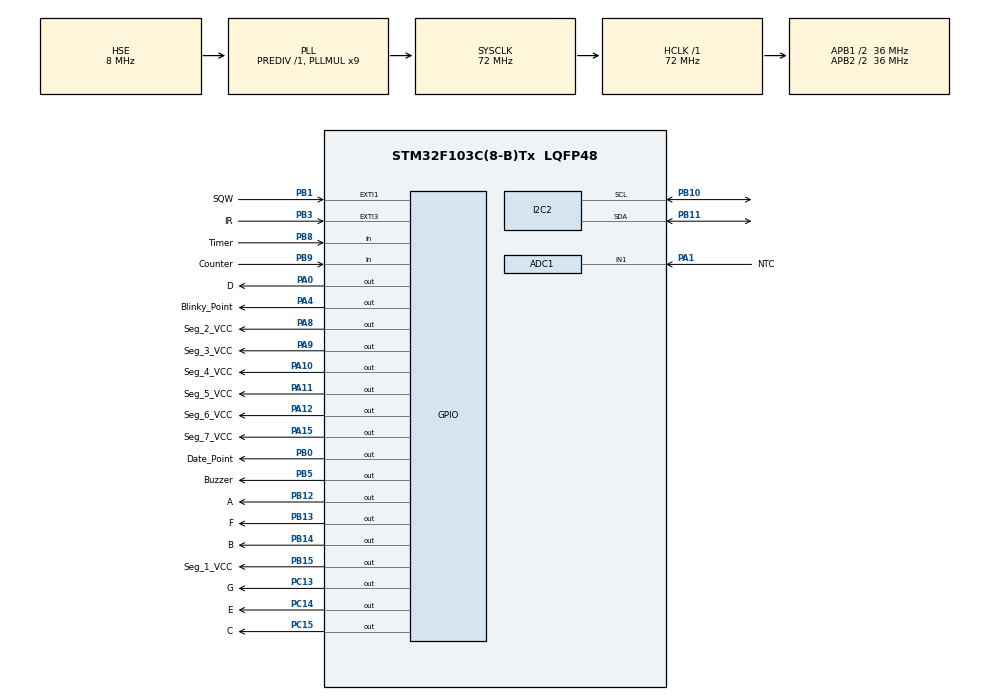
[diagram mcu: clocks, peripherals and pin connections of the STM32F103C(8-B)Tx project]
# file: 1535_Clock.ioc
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ADC1.Channel-0\#ChannelRegularConversion=ADC_CHANNEL_1
ADC1.NbrOfConversionFlag=1
ADC1.Rank-0\#ChannelRegularConversion=1
ADC1.SamplingTime-0\#ChannelRegularConversion=ADC_SAMPLETIME_1CYCLE_5
ADC1.master=1
Mcu.Family=STM32F1
Mcu.Name=STM32F103C(8-B)Tx
Mcu.Package=LQFP48
NVIC.EXTI1_IRQn=true\:0\:0\:false\:false\:true\:true\:true\:true
NVIC.EXTI3_IRQn=true\:0\:0\:false\:false\:true\:true\:true\:true
NVIC.PriorityGroup=NVIC_PRIORITYGROUP_4
NVIC.TIM2_IRQn=true\:0\:0\:false\:false\:true\:true\:true\:true
NVIC.TIM3_IRQn=true\:0\:0\:false\:false\:true\:true\:true\:true
PA0-WKUP.GPIO_Label=D
PA0-WKUP.GPIO_Speed=GPIO_SPEED_FREQ_HIGH
PA0-WKUP.Signal=GPIO_Output
PA1.GPIO_Label=NTC
PA1.Signal=SharedAnalog_PA1
PA10.GPIO_Label=Seg_4_VCC
PA10.GPIO_Speed=GPIO_SPEED_FREQ_HIGH
PA10.Signal=GPIO_Output
PA11.GPIO_Label=Seg_5_VCC
PA11.GPIO_Speed=GPIO_SPEED_FREQ_HIGH
PA11.Signal=GPIO_Output
PA12.GPIO_Label=Seg_6_VCC
PA12.GPIO_Speed=GPIO_SPEED_FREQ_HIGH
PA12.Signal=GPIO_Output
PA13.Mode=Serial_Wire
PA13.Signal=SYS_JTMS-SWDIO
PA14.Mode=Serial_Wire
PA14.Signal=SYS_JTCK-SWCLK
PA15.GPIO_Label=Seg_7_VCC
PA15.GPIO_Speed=GPIO_SPEED_FREQ_HIGH
PA15.Signal=GPIO_Output
PA4.GPIO_Label=Blinky_Point
PA4.Signal=GPIO_Output
PA8.GPIO_Label=Seg_2_VCC
PA8.GPIO_Speed=GPIO_SPEED_FREQ_HIGH
PA8.Signal=GPIO_Output
PA9.GPIO_Label=Seg_3_VCC
PA9.GPIO_Speed=GPIO_SPEED_FREQ_HIGH
PA9.Signal=GPIO_Output
PB0.GPIO_Label=Date_Point
PB0.Signal=GPIO_Output
PB1.GPIO_Label=SQW
PB1.Signal=GPXTI1
PB10.Mode=I2C
PB10.Signal=I2C2_SCL
PB11.Mode=I2C
PB11.Signal=I2C2_SDA
PB12.GPIO_Label=A
PB12.GPIO_Speed=GPIO_SPEED_FREQ_HIGH
PB12.Signal=GPIO_Output
PB13.GPIO_Label=F
PB13.GPIO_Speed=GPIO_SPEED_FREQ_HIGH
PB13.Signal=GPIO_Output
PB14.GPIO_Label=B
PB14.GPIO_Speed=GPIO_SPEED_FREQ_HIGH
PB14.Signal=GPIO_Output
PB15.GPIO_Label=Seg_1_VCC
PB15.GPIO_Speed=GPIO_SPEED_FREQ_HIGH
PB15.Signal=GPIO_Output
PB3.GPIO_Label=IR
PB3.GPIO_ModeDefaultEXTI=GPIO_MODE_IT_FALLING
PB3.Signal=GPXTI3
PB5.GPIO_Label=Buzzer
PB5.Signal=GPIO_Output
PB8.GPIO_Label=Timer
PB8.Signal=GPIO_Input
PB9.GPIO_Label=Counter
PB9.Signal=GPIO_Input
PC13-TAMPER-RTC.GPIO_Label=G
PC13-TAMPER-RTC.GPIO_Speed=GPIO_SPEED_FREQ_HIGH
PC13-TAMPER-RTC.Signal=GPIO_Output
PC14-OSC32_IN.GPIO_Label=E
PC14-OSC32_IN.GPIO_Speed=GPIO_SPEED_FREQ_HIGH
PC14-OSC32_IN.Signal=GPIO_Output
PC15-OSC32_OUT.GPIO_Label=C
PC15-OSC32_OUT.GPIO_Speed=GPIO_SPEED_FREQ_HIGH
PC15-OSC32_OUT.Signal=GPIO_Output
PD0-OSC_IN.Mode=HSE-External-Oscillator
PD0-OSC_IN.Signal=RCC_OSC_IN
PD1-OSC_OUT.Mode=HSE-External-Oscillator
PD1-OSC_OUT.Signal=RCC_OSC_OUT
ProjectManager.HeapSize=0x200
ProjectManager.StackSize=0x400
ProjectManager.TargetToolchain=STM32CubeIDE
RCC.ADCPresc=RCC_ADCPCLK2_DIV4
RCC.AHBFreq_Value=72000000
RCC.APB1CLKDivider=RCC_HCLK_DIV2
RCC.APB1Freq_Value=36000000
RCC.APB1TimFreq_Value=72000000
RCC.APB2CLKDivider=RCC_HCLK_DIV2
RCC.APB2Freq_Value=36000000
RCC.APB2TimFreq_Value=72000000
RCC.HCLKFreq_Value=72000000
RCC.PLLMUL=RCC_PLL_MUL9
RCC.PLLSourceVirtual=RCC_PLLSOURCE_HSE
RCC.SYSCLKFreq_VALUE=72000000
RCC.SYSCLKSource=RCC_SYSCLKSOURCE_PLLCLK
RCC.USBFreq_Value=72000000
SH.SharedAnalog_PA1.0=GPIO_Analog
SH.SharedAnalog_PA1.1=ADC1_IN1,IN1
TIM2.CounterMode=TIM_COUNTERMODE_CENTERALIGNED3
TIM2.Period=499
TIM2.Prescaler=72-1
TIM3.Period=50000
TIM3.Prescaler=72-1
VP_TIM2_VS_ClockSourceINT.Mode=Internal
VP_TIM3_VS_ClockSourceINT.Mode=Internal
board=custom

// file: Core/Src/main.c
/* USER CODE BEGIN Header */
/**
 ******************************************************************************
 * @file           : main.c
 * @brief          : Main program body
 ******************************************************************************
 * @attention
 *
 * Copyright (c) 2025 STMicroelectronics.
 * All rights reserved.
 *
 * This software is licensed under terms that can be found in the LICENSE file
 * in the root directory of this software component.
 * If no LICENSE file comes with this software, it is provided AS-IS.
 *
 ******************************************************************************
 */
/* USER CODE END Header */
#include "main.h"
#include "adc.h"
#include "i2c.h"
#include "tim.h"
#include "gpio.h"

/* USER CODE BEGIN Includes */
#include "DS3231.h"
#include "GeneralRemoote.h"
#include "Initialization.h"
#include "NTC.h"

/* USER CODE END Includes */

void SystemClock_Config(void);

int main(void)
{

  /* MCU Configuration--------------------------------------------------------*/

  /* Reset of all peripherals, Initializes the Flash interface and the Systick. */
  HAL_Init();

  /* Configure the system clock */
  SystemClock_Config();

  /* Initialize all configured peripherals */
  MX_GPIO_Init();
  MX_I2C2_Init();
  MX_TIM2_Init();
  MX_TIM3_Init();
  MX_ADC1_Init();
  /* USER CODE BEGIN 2 */
  HAL_TIM_Base_Start_IT(&htim2);
  HAL_TIM_Base_Start_IT(&htim3);

  for (int i = 0; i < 10; i++)
  {
    Segment_Set(0, i);
    Segment_Set(1, i);
    Segment_Set(2, i);
    Segment_Set(3, i);
    Segment_Set(4, i);
    Segment_Set(5, i);
    Segment_Set(6, 'N');
    HAL_Delay(200);
    HAL_GPIO_WritePin(blinky_Point, HIGH);
    HAL_GPIO_WritePin(date_Point, LOW);
    Buzz(100); HAL_Delay(200); Buzz(100);
  }

  if (HAL_I2C_IsDeviceReady(&hi2c2, 0xD0, 3, 100) == HAL_OK)
  {
    DS3231_ReadTime(&hi2c2, &time_Hour, &time_Minute, &time_Second);
    DS3231_EnableSQW1Hz(&hi2c2);
  }
  else
  {
    time_Hour = 0;
    time_Minute = 0;
    time_Second = 0;

    for (int i = 0; i < 3; i++)
    {
      Buzz(300);
      HAL_Delay(100);
    }
  }

  #ifdef EDAR
    for(int i = 0; i< 8; i++)
    {
      dateOfWeek = GET_DOW(i);
      Segment_Set(6,dateOfWeek);
      HAL_Delay(200);
    }
    dateOfWeek = GET_DOW(date_Week);
    Date_Update();
  #endif
  Buzz(20);
  HAL_Delay(100);
  Buzz(20);

  /* USER CODE BEGIN 2 */

  /* USER CODE END 2 */

  /* Infinite loop */
  while (1)
  {

    /* USER CODE BEGIN 3 */
#ifdef SIMPLE
    if (work_Mode == MODE_NORMAL)
    {

      HAL_GPIO_WritePin(date_Point, LOW);
      if (tmpShow)
      {
        if (time_TmpShow < 2)
        {
          if (tempreture_read == 0)
          {
            temperature = NTC_Read();
            tempreture_read = 1;
          }
          if (tempreture_read == 1)
          {
            Segment_Set(0, temperature / 10);
            Segment_Set(1, temperature % 10);
            Segment_Set(2, 'o');
            Segment_Set(3, 'C');
            Segment_Set(4, 'N');
            Segment_Set(5, 'N');
            HAL_GPIO_WritePin(blinky_Point, LOW);
          }
        }
        else
        {
          tempreture_read = 0;
        }
      }
      if (!tempreture_read)
      {
        if (PM_Mode)
        {
          if (time_Hour > 12)
          {
            Segment_Set(0, (time_Hour - 12) / 10);
            Segment_Set(1, (time_Hour - 12) % 10);
          }
          else
          {
            Segment_Set(0, time_Hour / 10);
            Segment_Set(1, time_Hour % 10);
          }
        }
        else
        {
          Segment_Set(0, time_Hour / 10);
          Segment_Set(1, time_Hour % 10);
        }
        Segment_Set(2, time_Minute / 10);
        Segment_Set(3, time_Minute % 10);
        Segment_Set(4, time_Second / 10);
        Segment_Set(5, time_Second % 10);
        HAL_GPIO_WritePin(blinky_Point, HIGH);
      }
      Segment_Set(6, 'N');

      irRemote = Ir_GetData();
      if (irRemote != 0)
      {
        Haamin_Remote(irRemote, work_Mode);
      }
    }
    else if (work_Mode == MODE_OFF)
    {
      Segment_Set(0, 'N');
      Segment_Set(1, 'N');
      Segment_Set(2, 'N');
      Segment_Set(3, 'N');
      Segment_Set(4, 'N');
      Segment_Set(5, 'N');
      Segment_Set(6, 'N');

      irRemote = Ir_GetData();
      if (irRemote != 0)
      {
        Haamin_Remote(irRemote, work_Mode);
      }
    }
    else if (work_Mode == TIME_SETTING)
    {
      if (time_Mode == SET_HOUR)
      {

        Segment_Set(2, time_Minute_t / 10);
        Segment_Set(3, time_Minute_t % 10);

        if (time_SecBit)
        {
          Segment_Set(0, timeValue / 10);
          Segment_Set(1, timeValue % 10);
        }
        else
        {
          Segment_Set(0, 'N');
          Segment_Set(1, 'N');
        }
      }
      else if (time_Mode == SET_MIN)
      {
        Segment_Set(0, time_Hour_t / 10);
        Segment_Set(1, time_Hour_t % 10);

        if (time_SecBit)
        {
          Segment_Set(2, timeValue / 10);
          Segment_Set(3, timeValue % 10);
        }
        else
        {
          Segment_Set(2, 'N');
          Segment_Set(3, 'N');
        }
      }

      irRemote = Ir_GetData();
      if (irRemote != 0)
      {
        Haamin_Remote(irRemote, work_Mode);
      }
    }

#elif EDARI
    if (work_Mode == MODE_NORMAL)
    {
      Segment_Set(6, dateOfWeek);
      if ((time_DateShow > 10) && (time_DateShow < 14))
      {
        date_Read = 1;
        // Date_Update();
        Segment_Set(0, jdate_Year / 10);
        Segment_Set(1, jdate_Year % 10);
        Segment_Set(2, jdate_Mounth / 10);
        Segment_Set(3, jdate_Mounth % 10);
        Segment_Set(4, jdate_Day / 10);
        Segment_Set(5, jdate_Day % 10);
        HAL_GPIO_WritePin(blinky_Point, LOW);
        HAL_GPIO_WritePin(date_Point, HIGH);
      }
      else
      {
        date_Read = 0;
      }

      if (tmpShow)
      {
        if (time_TmpShow < 2)
        {
          if (tempreture_read == 0)
          {
            temperature = NTC_Read();
            tempreture_read = 1;
          }

          Segment_Set(0, temperature / 10);
          Segment_Set(1, temperature % 10);
          Segment_Set(2, 'o');
          Segment_Set(3, 'C');
          Segment_Set(4, 'N');
          Segment_Set(5, 'N');
          HAL_GPIO_WritePin(blinky_Point, LOW);
          HAL_GPIO_WritePin(date_Point, LOW);
        }
        else
        {
          tempreture_read = 0;
        }
      }

      if (!tempreture_read && !date_Read)
      {
        if (PM_Mode)
        {
          if (time_Hour > 12)
          {
            Segment_Set(0, (time_Hour - 12) / 10);
            Segment_Set(1, (time_Hour - 12) % 10);
          }
          else
          {
            Segment_Set(0, time_Hour / 10);
            Segment_Set(1, time_Hour % 10);
          }
        }
        else
        {
          Segment_Set(0, time_Hour / 10);
          Segment_Set(1, time_Hour % 10);
        }

        Segment_Set(2, time_Minute / 10);
        Segment_Set(3, time_Minute % 10);
        Segment_Set(4, time_Second / 10);
        Segment_Set(5, time_Second % 10);
        HAL_GPIO_WritePin(date_Point, LOW);
        HAL_GPIO_WritePin(blinky_Point, HIGH);
      }
      irRemote = Ir_GetData();
      if (irRemote != 0)
      {
        Haamin_Remote(irRemote, work_Mode);
      }
    }
    else if (work_Mode == MODE_OFF)
    {
      Segment_Set(0, 'N');
      Segment_Set(1, 'N');
      Segment_Set(2, 'N');
      Segment_Set(3, 'N');
      Segment_Set(4, 'N');
      Segment_Set(5, 'N');
      Segment_Set(6, 'N');
      HAL_GPIO_WritePin(blinky_Point, LOW);
      HAL_GPIO_WritePin(date_Point, LOW);
      irRemote = Ir_GetData();
      if (irRemote != 0)
      {
        Haamin_Remote(irRemote, work_Mode);
      }
    }
    else if (work_Mode == TIME_SETTING)
    {
      HAL_GPIO_WritePin(blinky_Point, HIGH);
      HAL_GPIO_WritePin(date_Point, LOW);

      if (time_Mode == SET_HOUR)
      {
        Segment_Set(2, time_Minute_t / 10);
        Segment_Set(3, time_Minute_t % 10);

        if (time_SecBit)
        {
          Segment_Set(0, timeValue / 10);
          Segment_Set(1, timeValue % 10);
        }
        else
        {
          Segment_Set(0, 'N');
          Segment_Set(1, 'N');
        }
      }
      else if (time_Mode == SET_MIN)
      {
        Segment_Set(0, time_Hour_t / 10);
        Segment_Set(1, time_Hour_t % 10);

        if (time_SecBit)
        {
          Segment_Set(2, timeValue / 10);
          Segment_Set(3, timeValue % 10);
        }
        else
        {
          Segment_Set(2, 'N');
          Segment_Set(3, 'N');
        }
      }

      irRemote = Ir_GetData();
      if (irRemote != 0)
      {
        Haamin_Remote(irRemote, work_Mode);
      }
    }
    else if (work_Mode == DATE_SETTING)
    {
      HAL_GPIO_WritePin(blinky_Point, LOW);

      if (date_Mode == SET_YEAR)
      {
        HAL_GPIO_WritePin(date_Point, HIGH);
        Segment_Set(2, dateMounth_t / 10);
        Segment_Set(3, dateMounth_t % 10);
        Segment_Set(4, dateDay_t / 10);
        Segment_Set(5, dateDay_t % 10);
        if (time_SecBit)
        {
          Segment_Set(0, dateValue / 10);
          Segment_Set(1, dateValue % 10);
        }
        else
        {
          Segment_Set(0, 'N');
          Segment_Set(1, 'N');
        }
      }
      else if (date_Mode == SET_MOTH)
      {
        HAL_GPIO_WritePin(date_Point, HIGH);
        Segment_Set(0, dateYear_t / 10);
        Segment_Set(1, dateYear_t % 10);

        Segment_Set(4, dateDay_t / 10);
        Segment_Set(5, dateDay_t % 10);
        if (time_SecBit)
        {
          Segment_Set(2, dateValue / 10);
          Segment_Set(3, dateValue % 10);
        }
        else
        {
          Segment_Set(2, 'N');
          Segment_Set(3, 'N');
        }
      }
      else if (date_Mode == SET_DAY)
      {
        HAL_GPIO_WritePin(date_Point, HIGH);
        Segment_Set(0, dateYear_t / 10);
        Segment_Set(1, dateYear_t % 10);
        Segment_Set(2, dateMounth_t / 10);
        Segment_Set(3, dateMounth_t % 10);
        if (time_SecBit)
        {
          Segment_Set(4, dateValue / 10);
          Segment_Set(5, dateValue % 10);
        }
        else
        {
          Segment_Set(4, 'N');
          Segment_Set(5, 'N');
        }
      }
      else if (date_Mode == SET_DOW)
      {
        HAL_GPIO_WritePin(date_Point, LOW);
        Segment_Set(0, 'N');
        Segment_Set(1, 'N');
        Segment_Set(2, 'N');
        Segment_Set(3, 'N');
        if (time_SecBit)
        {
          Segment_Set(4, dateValue / 10);
          Segment_Set(5, dateValue % 10);
        }
        else
        {
          Segment_Set(4, 'N');
          Segment_Set(5, 'N');
        }
      }

      irRemote = Ir_GetData();
      if (irRemote != 0)
      {
        Haamin_Remote(irRemote, work_Mode);
      }
    }

#elif BASHGHAHI

    if (work_Mode == MODE_NORMAL)
    {
      if (time_TmpShow < 2)
      {
        if (tmpShow)
        {
          if (temp_Read)
          {
            temperature = NTC_Read();
            temp_Read = 0;
          }
          HAL_GPIO_WritePin(blinky_Point, LOW);
          Segment_Set(0, temperature / 10);
          Segment_Set(1, temperature % 10);
          Segment_Set(2, 'o');
          Segment_Set(3, 'C');
          Segment_Set(4, 'N');
          Segment_Set(5, 'N');
        }
      }
      else
      {
        temp_Read = 1;
        HAL_GPIO_WritePin(blinky_Point, HIGH);
        if (PM_Mode)
        {
          if (time_Hour > 12)
          {
            Segment_Set(0, (time_Hour - 12) / 10);
            Segment_Set(1, (time_Hour - 12) % 10);
          }
          else
          {
            Segment_Set(0, time_Hour / 10);
            Segment_Set(1, time_Hour % 10);
          }
        }
        else
        {
          Segment_Set(0, time_Hour / 10);
          Segment_Set(1, time_Hour % 10);
        }
        Segment_Set(2, time_Minute / 10);
        Segment_Set(3, time_Minute % 10);
        Segment_Set(4, time_Second / 10);
        Segment_Set(5, time_Second % 10);
      }

      irRemote = Ir_GetData();
      if (irRemote != 0)
      {
        Haamin_Remote(irRemote, work_Mode);
      }
    }

    else if (work_Mode == MODE_OFF)
    {
      Segment_Set(0, 'N');
      Segment_Set(1, 'N');
      Segment_Set(2, 'N');
      Segment_Set(3, 'N');
      Segment_Set(4, 'N');
      Segment_Set(5, 'N');
      // Segment_Set(6,'N');
      HAL_GPIO_WritePin(blinky_Point, LOW);
      irRemote = Ir_GetData();
      if (irRemote != 0)
      {
        Haamin_Remote(irRemote, work_Mode);
      }
    }

    else if (work_Mode == TIME_SETTING)
    {
      if (time_Mode == SET_HOUR)
      {

        Segment_Set(2, time_Minute_t / 10);
        Segment_Set(3, time_Minute_t % 10);

        if (time_SecBit)
        {
          Segment_Set(0, timeValue / 10);
          Segment_Set(1, timeValue % 10);
        }
        else
        {
          Segment_Set(0, 'N');
          Segment_Set(1, 'N');
        }
      }
      else if (time_Mode == SET_MIN)
      {
        Segment_Set(0, time_Hour_t / 10);
        Segment_Set(1, time_Hour_t % 10);

        if (time_SecBit)
        {
          Segment_Set(2, timeValue / 10);
          Segment_Set(3, timeValue % 10);
        }
        else
        {
          Segment_Set(2, 'N');
          Segment_Set(3, 'N');
        }
      }

      irRemote = Ir_GetData();
      if (irRemote != 0)
      {
        Haamin_Remote(irRemote, work_Mode);
      }
    }
    /*
    else if(work_Mode == DATE_SETTING)
    {
      HAL_GPIO_WritePin(blinky_Point,LOW);
      HAL_GPIO_WritePin(date_Point,HIGH);
      if(date_Mode == SET_YEAR)
      {
        Segment_Set(2,dateMounth_t/10);
        Segment_Set(3,dateMounth_t%10);
        Segment_Set(4,dateDay_t/10);
        Segment_Set(5,dateDay_t%10);
        if(time_SecBit)
        {
          Segment_Set(0,dateValue/10);
          Segment_Set(1,dateValue%10);
        }
        else
        {
          Segment_Set(0,'N');
          Segment_Set(1,'N');
        }
      }
      else if(date_Mode == SET_MOTH)
      {
        Segment_Set(0,dateYear_t/10);
        Segment_Set(1,dateYear_t%10);

        Segment_Set(4,dateDay_t/10);
        Segment_Set(5,dateDay_t%10);
        if(time_SecBit)
        {
          Segment_Set(2,dateValue/10);
          Segment_Set(3,dateValue%10);
        }
        else
        {
          Segment_Set(2,'N');
          Segment_Set(3,'N');
        }
      }
      else if(date_Mode == SET_DAY)
      {
        Segment_Set(0,dateYear_t/10);
        Segment_Set(1,dateYear_t%10);
        Segment_Set(2,dateMounth_t/10);
        Segment_Set(3,dateMounth_t%10);
        if(time_SecBit)
        {
          Segment_Set(4,dateValue/10);
          Segment_Set(5,dateValue%10);
        }
        else
        {
          Segment_Set(4,'N');
          Segment_Set(5,'N');
        }
      }
      else if(date_Mode == SET_DOW)
      {
        Segment_Set(0,dateYear_t/10);
        Segment_Set(1,dateYear_t%10);
        Segment_Set(2,dateMounth_t/10);
        Segment_Set(3,dateMounth_t%10);
        Segment_Set(4,dateDay_t/10);
        Segment_Set(5,dateDay_t%10);

        if(time_SecBit)
        {
          Segment_Set(6,GET_DOW(dateValue));
        }
        else
        {
          Segment_Set(6,'N');
        }

      }

      irRemote = Ir_GetData();
      if(irRemote != 0)
      {
        Haamin_Remote(irRemote, work_Mode);
      }
    }
    */
    else if (work_Mode == UP_TIMER)
    {
      if (timer_Mode == SETTING)
      {
        Segment_Set(0, 'U');
        Segment_Set(1, 'P');
        Segment_Set(4, upTime_Second / 10);
        Segment_Set(5, upTime_Second % 10);
        if (time_SecBit)
        {
          Segment_Set(2, timer_Value / 10);
          Segment_Set(3, timer_Value % 10);
        }
        else
        {
          Segment_Set(2, 'N');
          Segment_Set(3, 'N');
        }

        irRemote = Ir_GetData();
        if (irRemote != 0)
        {
          Haamin_Remote(irRemote, work_Mode);
        }
      }
      else if (timer_Mode == MAIN_FUNCTION)
      {
        time_Out = 0;
        if (timer_StartUp)
        {
          HAL_GPIO_WritePin(blinky_Point, LOW);
          Segment_Set(0, 'N');
          Segment_Set(1, 'N');
          Segment_Set(2, 'N');
          Segment_Set(3, 'N');
          Segment_Set(4, timer_TimeStarting / 10);
          Segment_Set(5, timer_TimeStarting % 10);
        }
        else
        {
          HAL_GPIO_WritePin(blinky_Point, HIGH);
          Segment_Set(0, 'U');
          Segment_Set(1, 'P');
          Segment_Set(2, upTime_Minute / 10);
          Segment_Set(3, upTime_Minute % 10);
          Segment_Set(4, upTime_Second / 10);
          Segment_Set(5, upTime_Second % 10);
        }

        if (time_SecBit)
        {
          time_SecBit = 0;
          if (timer_Run == 1)
          {
            if (timer_SrUpEn)
            {
              timer_StartUp = 1;
              timer_TimeStarting--;

              if (timer_TimeStarting < 4)
                Buzz(100);
              if (timer_TimeStarting < 1)
              {
                timer_SrUpEn = 0;
                timer_StartUp = 0;
                upTime_Minute = 0;
                upTime_Second = 0;
                Buzz(100);
                HAL_Delay(100);
                Buzz(100);
              }
            }
            else
            {
              if (++upTime_Second > 59)
              {
                upTime_Second = 0;
                upTime_Minute++;
                if (upTime_Minute == upTime_Minute_Defult)
                {
                  upTime_Minute = upTime_Minute_Defult;
                  upTime_Second = 0;
                  timer_Run = 0;
                  timer_SrUpEn = 1;
                  timer_TimeStarting = 11;
                  Buzz(100);
                  HAL_Delay(100);
                  Buzz(100);
                  HAL_Delay(100);
                  Buzz(100);
                }
              }
            }
          }
        }
      }

      irRemote = Ir_GetData();
      if (irRemote != 0)
      {
        Haamin_Remote(irRemote, work_Mode);
      }
    }

    else if (work_Mode == DN_TIMER)
    {
      if (timer_Mode == SETTING)
      {
        Segment_Set(0, 'd');
        Segment_Set(1, 'n');
        Segment_Set(4, dnTime_Second / 10);
        Segment_Set(5, dnTime_Second % 10);
        if (time_SecBit)
        {
          Segment_Set(2, timer_Value / 10);
          Segment_Set(3, timer_Value % 10);
        }
        else
        {
          Segment_Set(2, 'N');
          Segment_Set(3, 'N');
        }

        irRemote = Ir_GetData();
        if (irRemote != 0)
        {
          Haamin_Remote(irRemote, work_Mode);
        }
      }
      else if (timer_Mode == MAIN_FUNCTION)
      {
        time_Out = 0;
        if (timer_StartUp)
        {
          HAL_GPIO_WritePin(blinky_Point, LOW);
          Segment_Set(0, 'N');
          Segment_Set(1, 'N');
          Segment_Set(2, 'N');
          Segment_Set(3, 'N');
          Segment_Set(4, timer_TimeStarting / 10);
          Segment_Set(5, timer_TimeStarting % 10);
        }
        else
        {
          HAL_GPIO_WritePin(blinky_Point, HIGH);
          Segment_Set(0, 'd');
          Segment_Set(1, 'n');
          Segment_Set(2, dnTime_Minute / 10);
          Segment_Set(3, dnTime_Minute % 10);
          Segment_Set(4, dnTime_Second / 10);
          Segment_Set(5, dnTime_Second % 10);
        }

        if (time_SecBit)
        {
          time_SecBit = 0;
          if (timer_Run == 1)
          {
            if (timer_SrUpEn)
            {
              timer_StartUp = 1;
              timer_TimeStarting--;

              if (timer_TimeStarting < 4)
                Buzz(100);
              if (timer_TimeStarting < 1)
              {
                timer_SrUpEn = 0;
                timer_StartUp = 0;
                dnTime_Minute = dnTime_Minute_Defult;
                dnTime_Second = 0;
                Buzz(100);
                HAL_Delay(100);
                Buzz(100);
              }
            }
            else
            {
              if (dnTime_Second <= 0)
              {
                dnTime_Second = 59;
                dnTime_Minute--;
                if (dnTime_Minute < 0)
                {
                  dnTime_Minute = dnTime_Minute_Defult;
                  dnTime_Second = 0;
                  timer_Run = 0;
                  timer_SrUpEn = 1;
                  timer_TimeStarting = 11;
                  Buzz(100);
                  HAL_Delay(100);
                  Buzz(100);
                  HAL_Delay(100);
                  Buzz(100);
                }
              }
              else
                dnTime_Second--;
            }
          }
        }
      }

      irRemote = Ir_GetData();
      if (irRemote != 0)
      {
        Haamin_Remote(irRemote, work_Mode);
      }
    }
#elif CROSS
    if (work_Mode == MODE_NORMAL)
    {
      HAL_GPIO_WritePin(date_Point, LOW);
      if (tmpShow)
      {
        if (time_TmpShow < 2)
        {
          if (tempreture_read == 0)
          {
            temperature = NTC_Read();
            tempreture_read = 1;
          }
          if (tempreture_read == 1)
          {
            Segment_Set(0, temperature / 10);
            Segment_Set(1, temperature % 10);
            Segment_Set(2, 'o');
            Segment_Set(3, 'C');
            Segment_Set(4, 'N');
            Segment_Set(5, 'N');
            HAL_GPIO_WritePin(blinky_Point, LOW);
          }
        }
        else
        {
          tempreture_read = 0;
        }
      }
      if (!tempreture_read)
      {
        if (PM_Mode)
        {
          if (time_Hour > 12)
          {
            Segment_Set(0, (time_Hour - 12) / 10);
            Segment_Set(1, (time_Hour - 12) % 10);
          }
          else
          {
            Segment_Set(0, time_Hour / 10);
            Segment_Set(1, time_Hour % 10);
          }
        }
        else
        {
          Segment_Set(0, time_Hour / 10);
          Segment_Set(1, time_Hour % 10);
        }
        Segment_Set(2, time_Minute / 10);
        Segment_Set(3, time_Minute % 10);
        Segment_Set(4, time_Second / 10);
        Segment_Set(5, time_Second % 10);
        HAL_GPIO_WritePin(blinky_Point, HIGH);
      }
      Segment_Set(6, 'N');

      irRemote = Ir_GetData();
      if (irRemote != 0)
      {
        Haamin_Remote(irRemote, work_Mode);
      }
    }
    else if (work_Mode == MODE_OFF)
    {
      time_Out = 0;
      Segment_Set(0, 'N');
      Segment_Set(1, 'N');
      Segment_Set(2, 'N');
      Segment_Set(3, 'N');
      Segment_Set(4, 'N');
      Segment_Set(5, 'N');
      Segment_Set(6, 'N');

      irRemote = Ir_GetData();
      if (irRemote != 0)
      {
        Haamin_Remote(irRemote, work_Mode);
      }
    }
    else if (work_Mode == MENU)
    {
      Segment_Set(0, 'f');
      Segment_Set(1, Condition);
      Segment_Set(2, 'N');
      Segment_Set(3, 'N');
      Segment_Set(4, 'N');
      Segment_Set(5, 'N');
      Segment_Set(6, 'N');
      HAL_GPIO_WritePin(blinky_Point, LOW);

      irRemote = Ir_GetData();
      if (irRemote != 0)
      {
        Haamin_Remote(irRemote, work_Mode);
      }
    }
    else if (work_Mode == TIME_SETTING)
    {
      Segment_Set(6, 'N');
      if (time_Mode == SET_HOUR)
      {

        Segment_Set(2, time_Minute_t / 10);
        Segment_Set(3, time_Minute_t % 10);

        if (time_SecBit)
        {
          Segment_Set(0, timeValue / 10);
          Segment_Set(1, timeValue % 10);
        }
        else
        {
          Segment_Set(0, 'N');
          Segment_Set(1, 'N');
        }
      }
      else if (time_Mode == SET_MIN)
      {
        Segment_Set(0, time_Hour_t / 10);
        Segment_Set(1, time_Hour_t % 10);

        if (time_SecBit)
        {
          Segment_Set(2, timeValue / 10);
          Segment_Set(3, timeValue % 10);
        }
        else
        {
          Segment_Set(2, 'N');
          Segment_Set(3, 'N');
        }
      }

      irRemote = Ir_GetData();
      if (irRemote != 0)
      {
        Haamin_Remote(irRemote, work_Mode);
      }
    }
    else if (work_Mode == UP_TIMER)
    {
      Segment_Set(6, 'S');
      if (timer_Mode == SETTING)
      {
        Segment_Set(0, 'U');
        Segment_Set(1, 'P');
        Segment_Set(4, upTime_Second / 10);
        Segment_Set(5, upTime_Second % 10);
        if (time_SecBit)
        {
          Segment_Set(2, timer_Value / 10);
          Segment_Set(3, timer_Value % 10);
        }
        else
        {
          Segment_Set(2, 'N');
          Segment_Set(3, 'N');
        }

        irRemote = Ir_GetData();
        if (irRemote != 0)
        {
          Haamin_Remote(irRemote, work_Mode);
        }
      }

      else if (timer_Mode == MAIN_FUNCTION)
      {
        time_Out = 0;
        if (timer_StartUp)
        {
          Segment_Set(0, 'N');
          Segment_Set(1, 'N');
          Segment_Set(2, 'N');
          Segment_Set(3, 'N');
          Segment_Set(4, timer_TimeStarting / 10);
          Segment_Set(5, timer_TimeStarting % 10);
          HAL_GPIO_WritePin(blinky_Point, LOW);
        }
        else
        {
          Segment_Set(0, 'U');
          Segment_Set(1, 'P');
          Segment_Set(2, upTime_Minute / 10);
          Segment_Set(3, upTime_Minute % 10);
          Segment_Set(4, upTime_Second / 10);
          Segment_Set(5, upTime_Second % 10);
          HAL_GPIO_WritePin(blinky_Point, HIGH);
        }

        if (time_SecBit)
        {
          time_SecBit = 0;
          if ((timer_Run == 1) || (mix_Flag))
          {
            if (mix_Flag)
            {
              mix_Flag = 0;
              mix_Runnig = 1;
              timer_Run = 1;
              timer_SrUpEn = 1;
              timer_TimeStarting = 11;
            }
            if (timer_SrUpEn)
            {
              timer_StartUp = 1;
              timer_TimeStarting--;

              if (timer_TimeStarting < 4)
                Buzz(100);
              if (timer_TimeStarting < 1)
              {
                timer_SrUpEn = 0;
                timer_StartUp = 0;
                upTime_Minute = 0;
                upTime_Second = 0;
                Buzz(100);
                HAL_Delay(100);
                Buzz(100);
              }
            }
            else
            {
              if (++upTime_Second > 59)
              {
                upTime_Second = 0;
                upTime_Minute++;
                if (upTime_Minute == upTime_Minute_Defult)
                {
                  upTime_Minute = 0;
                  upTime_Second = 0;
                  timer_Run = 0;
                  if (mix_Runnig)
                  {
                    work_Mode = MIX;
                    mix_Runnig = 0;
                  }
                  Buzz(100);
                  HAL_Delay(100);
                  Buzz(100);
                  HAL_Delay(100);
                  Buzz(100);
                }
              }
            }
          }
        }
      }

      irRemote = Ir_GetData();
      if (irRemote != 0)
      {
        Haamin_Remote(irRemote, work_Mode);
      }
    }
    else if (work_Mode == DN_TIMER)
    {
      Segment_Set(6, 'u');
      if (timer_Mode == SETTING)
      {
        Segment_Set(0, 'd');
        Segment_Set(1, 'n');
        Segment_Set(4, dnTime_Second / 10);
        Segment_Set(5, dnTime_Second % 10);
        if (time_SecBit)
        {
          Segment_Set(2, timer_Value / 10);
          Segment_Set(3, timer_Value % 10);
        }
        else
        {
          Segment_Set(2, 'N');
          Segment_Set(3, 'N');
        }

        irRemote = Ir_GetData();
        if (irRemote != 0)
        {
          Haamin_Remote(irRemote, work_Mode);
        }
      }

      else if (timer_Mode == MAIN_FUNCTION)
      {
        time_Out = 0;
        if (timer_StartUp)
        {
          Segment_Set(0, 'N');
          Segment_Set(1, 'N');
          Segment_Set(2, 'N');
          Segment_Set(3, 'N');
          Segment_Set(4, timer_TimeStarting / 10);
          Segment_Set(5, timer_TimeStarting % 10);
          HAL_GPIO_WritePin(blinky_Point, LOW);
        }
        else
        {
          Segment_Set(0, 'd');
          Segment_Set(1, 'n');
          Segment_Set(2, dnTime_Minute / 10);
          Segment_Set(3, dnTime_Minute % 10);
          Segment_Set(4, dnTime_Second / 10);
          Segment_Set(5, dnTime_Second % 10);
          HAL_GPIO_WritePin(blinky_Point, HIGH);
        }

        if (time_SecBit)
        {
          time_SecBit = 0;
          if (timer_Run || mix_Flag)
          {
            if (mix_Flag)
            {
              mix_Flag = 0;
              mix_Runnig = 1;
              timer_Run = 1;
              timer_SrUpEn = 1;
              timer_TimeStarting = 11;
            }
            if (timer_SrUpEn)
            {
              timer_StartUp = 1;
              timer_TimeStarting--;

              if (timer_TimeStarting < 4)
                Buzz(100);
              if (timer_TimeStarting < 1)
              {
                timer_SrUpEn = 0;
                timer_StartUp = 0;
                dnTime_Minute = dnTime_Minute_Defult;
                dnTime_Second = 0;
                Buzz(100);
                HAL_Delay(100);
                Buzz(100);
              }
            }
            else
            {
              dnTime_Second--;
              if (dnTime_Second < 0)
              {
                dnTime_Second = 59;
                dnTime_Minute--;
                if (dnTime_Minute < 0)
                {
                  dnTime_Minute = dnTime_Minute_Defult;
                  dnTime_Second = 0;
                  timer_Run = 0;
                  if (mix_Runnig)
                  {
                    mix_Runnig = 0;
                    work_Mode = MIX;
                  }
                  Buzz(100);
                  HAL_Delay(100);
                  Buzz(100);
                  HAL_Delay(100);
                  Buzz(100);
                }
              }
            }
          }
        }
      }

      irRemote = Ir_GetData();
      if (irRemote != 0)
      {
        Haamin_Remote(irRemote, work_Mode);
      }
    }
    else if (work_Mode == TABATA)
    {
      Segment_Set(6, 'M');
      if (cross_Mode == MAIN_FUNCTION)
      {
        time_Out = 0;
        if (cross_StartUp)
        {
          Segment_Set(0, 'N');
          Segment_Set(1, 'N');
          Segment_Set(2, 'N');
          Segment_Set(3, 'N');
          Segment_Set(4, cross_TimeStarting / 10);
          Segment_Set(5, cross_TimeStarting % 10);
          HAL_GPIO_WritePin(blinky_Point, LOW);
        }
        else
        {
          Segment_Set(0, tabata_Round / 10);
          Segment_Set(1, tabata_Round % 10);
          Segment_Set(2, tabata_Act / 10);
          Segment_Set(3, tabata_Act % 10);
          Segment_Set(4, tabata_Rest / 10);
          Segment_Set(5, tabata_Rest % 10);
          HAL_GPIO_WritePin(blinky_Point, HIGH);
        }

        if (time_SecBit)
        {
          time_SecBit = 0;
          if (cross_Run || mix_Flag)
          {
            if (mix_Flag)
            {
              mix_Flag = 0;
              mix_Runnig = 1;
              cross_Run = 1;
              cross_SrUpEn = 1;
              cross_TimeStarting = 11;
            }
            if (cross_SrUpEn)
            {
              cross_StartUp = 1;
              cross_TimeStarting--;
              if (cross_TimeStarting < 4)
                Buzz(100);
              if (cross_TimeStarting < 1)
              {
                cross_TimeStarting = 11;
                cross_StartUp = 0;
                cross_SrUpEn = 0;
                tabata_Mode = ACT;
                Buzz(100);
                HAL_Delay(100);
                Buzz(100);
              }
            }
            if (tabata_Mode == ACT)
            {
              tabata_Act--;
              if (tabata_Act < 1)
              {
                tabata_Mode = REST;
                tabata_Act = tabata_Act_Def;
                Buzz(100);
                HAL_Delay(100);
                Buzz(100);
              }
            }
            else if (tabata_Mode == REST)
            {
              tabata_Rest--;
              if (tabata_Rest < 4)
                Buzz(100);
              if (tabata_Rest < 1)
              {
                tabata_Mode = ACT;
                tabata_Rest = tabata_Rest_Def;
                tabata_Round--;
                Buzz(300);
              }
            }
            if (tabata_Round < 1)
            {
              tabata_Mode = 1;
              tabata_Round = tabata_Round_Def;
              tabata_Act = tabata_Act_Def;
              tabata_Rest = tabata_Rest_Def;
              cross_Run = 0;
              cross_SrUpEn = 1;
              if (mix_Runnig)
              {
                mix_Runnig = 0;
                work_Mode = MIX;
              }
              Buzz(100);
              HAL_Delay(150);
              Buzz(100);
              HAL_Delay(150);
              Buzz(100);
            }
          }
        }
        irRemote = Ir_GetData();
        if (irRemote != 0)
        {
          Haamin_Remote(irRemote, work_Mode);
        }
      }
      else if (cross_Mode == SETTING)
      {
        time_Out = 0;
        HAL_GPIO_WritePin(blinky_Point, LOW);
        if (tabata_Mode == ROUND)
        {
          Segment_Set(2, 'N');
          Segment_Set(3, 'N');
          Segment_Set(4, 'N');
          Segment_Set(5, 'N');
          if (time_SecBit)
          {
            Segment_Set(0, cross_Value / 10);
            Segment_Set(1, cross_Value % 10);
          }
          else
          {
            Segment_Set(0, 'N');
            Segment_Set(1, 'N');
          }

          irRemote = Ir_GetData();
          if (irRemote != 0)
          {
            Haamin_Remote(irRemote, work_Mode);
          }
        }

        else if (tabata_Mode == ACT)
        {
          Segment_Set(0, 'N');
          Segment_Set(1, 'N');
          Segment_Set(4, 'N');
          Segment_Set(5, 'N');
          if (time_SecBit)
          {
            Segment_Set(2, cross_Value / 10);
            Segment_Set(3, cross_Value % 10);
          }
          else
          {
            Segment_Set(2, 'N');
            Segment_Set(3, 'N');
          }

          irRemote = Ir_GetData();
          if (irRemote != 0)
          {
            Haamin_Remote(irRemote, work_Mode);
          }
        }

        else if (tabata_Mode == REST)
        {
          Segment_Set(0, 'N');
          Segment_Set(1, 'N');
          Segment_Set(2, 'N');
          Segment_Set(3, 'N');
          if (time_SecBit)
          {
            Segment_Set(4, cross_Value / 10);
            Segment_Set(5, cross_Value % 10);
          }
          else
          {
            Segment_Set(4, 'N');
            Segment_Set(5, 'N');
          }

          irRemote = Ir_GetData();
          if (irRemote != 0)
          {
            Haamin_Remote(irRemote, work_Mode);
          }
        }
      }
    }
    else if (work_Mode == EMOM)
    {
      Segment_Set(6, 'T');
      if (cross_Mode == MAIN_FUNCTION)
      {
        time_Out = 0;
        if (cross_StartUp)
        {
          Segment_Set(0, 'N');
          Segment_Set(1, 'N');
          Segment_Set(2, 'N');
          Segment_Set(3, 'N');
          Segment_Set(4, cross_TimeStarting / 10);
          Segment_Set(5, cross_TimeStarting % 10);
          HAL_GPIO_WritePin(blinky_Point, LOW);
        }
        else
        {
          Segment_Set(0, emom_Round / 10);
          Segment_Set(1, emom_Round % 10);
          Segment_Set(2, emom_Time / 10);
          Segment_Set(3, emom_Time % 10);
          Segment_Set(4, emom_Act / 10);
          Segment_Set(5, emom_Act % 10);
          HAL_GPIO_WritePin(blinky_Point, HIGH);
        }

        if (time_SecBit)
        {
          time_SecBit = 0;
          if (cross_Run || mix_Flag)
          {
            if (mix_Flag)
            {
              mix_Flag = 0;
              mix_Runnig = 1;
              cross_Run = 1;
              cross_SrUpEn = 1;
              cross_TimeStarting = 11;
            }
            if (cross_SrUpEn)
            {
              cross_StartUp = 1;
              cross_TimeStarting--;
              if (cross_TimeStarting < 4)
                Buzz(100);
              if (cross_TimeStarting < 1)
              {
                cross_TimeStarting = 11;
                cross_StartUp = 0;
                cross_SrUpEn = 0;
                emom_Mode = ACT;
                emom_Time_tmp = emom_Time * 60;
                Buzz(100);
                HAL_Delay(100);
                Buzz(100);
              }
            }
            if (emom_Mode == ACT)
            {
              emom_Time_tmp--;
              emom_Act--;
              if (emom_Time_tmp % 60 == 0)
                emom_Time--;
              if (emom_Act < 4)
                Buzz(100);
              if (emom_Act < 1)
              {
                tabata_Mode = REST;
                emom_Act = emom_Act_Def;
                emom_Round--;
                Buzz(100);
              }
            }

            if (emom_Round < 1)
            {
              emom_Mode = 1;
              emom_Round = emom_Round_Def;
              emom_Act = emom_Act_Def;
              emom_Time = emom_Time_Def;
              emom_Time_tmp = (emom_Time * 60);
              cross_Run = 0;
              cross_SrUpEn = 1;
              cross_TimeStarting = 11;
              if (mix_Runnig)
              {
                mix_Runnig = 0;
                work_Mode = MIX;
              }
              Buzz(100);
              HAL_Delay(150);
              Buzz(100);
              HAL_Delay(150);
              Buzz(100);
            }
          }
        }

        irRemote = Ir_GetData();
        if (irRemote != 0)
        {
          Haamin_Remote(irRemote, work_Mode);
        }
      }
      else if (cross_Mode == SETTING)
      {
        time_Out = 0;
        HAL_GPIO_WritePin(blinky_Point, LOW);
        if (emom_Mode == ROUND)
        {
          Segment_Set(2, 'N');
          Segment_Set(3, 'N');
          Segment_Set(4, 'N');
          Segment_Set(5, 'N');
          if (time_SecBit)
          {
            Segment_Set(0, cross_Value / 10);
            Segment_Set(1, cross_Value % 10);
          }
          else
          {
            Segment_Set(0, 'N');
            Segment_Set(1, 'N');
          }

          irRemote = Ir_GetData();
          if (irRemote != 0)
          {
            Haamin_Remote(irRemote, work_Mode);
          }
        }

        else if (emom_Mode == ACT)
        {
          Segment_Set(0, 'N');
          Segment_Set(1, 'N');
          Segment_Set(4, 'N');
          Segment_Set(5, 'N');
          if (time_SecBit)
          {
            Segment_Set(2, cross_Value / 10);
            Segment_Set(3, cross_Value % 10);
          }
          else
          {
            Segment_Set(2, 'N');
            Segment_Set(3, 'N');
          }

          irRemote = Ir_GetData();
          if (irRemote != 0)
          {
            Haamin_Remote(irRemote, work_Mode);
          }
        }
      }
    }
    else if (work_Mode == AMRAP)
    {
      Segment_Set(6, 'W');
      if (cross_Mode == MAIN_FUNCTION)
      {
        time_Out = 0;
        if (cross_StartUp)
        {
          Segment_Set(0, 'N');
          Segment_Set(1, 'N');
          Segment_Set(2, 'N');
          Segment_Set(3, 'N');
          Segment_Set(4, cross_TimeStarting / 10);
          Segment_Set(5, cross_TimeStarting % 10);
          HAL_GPIO_WritePin(blinky_Point, LOW);
        }
        else
        {
          Segment_Set(0, 'A');
          Segment_Set(1, 'r');
          Segment_Set(2, amrap_Minute / 10);
          Segment_Set(3, amrap_Minute % 10);
          Segment_Set(4, amrap_Second / 10);
          Segment_Set(5, amrap_Second % 10);
          HAL_GPIO_WritePin(blinky_Point, HIGH);
        }
        if (time_SecBit)
        {
          time_SecBit = 0;
          if (cross_Run || mix_Flag)
          {
            if (mix_Flag)
            {
              mix_Flag = 0;
              mix_Runnig = 1;
              cross_Run = 1;
              cross_SrUpEn = 1;
              cross_TimeStarting = 11;
              amrap_Minute = amrap_Minute_Def;
              amrap_Second = amrap_Second_Def;
            }
            if (cross_SrUpEn)
            {
              cross_StartUp = 1;
              cross_TimeStarting--;
              if (cross_TimeStarting < 4)
                Buzz(100);
              if (cross_TimeStarting < 1)
              {
                cross_TimeStarting = 11;
                cross_StartUp = 0;
                cross_SrUpEn = 0;
                amrap_Act = 1;
                Buzz(100);
                HAL_Delay(100);
                Buzz(100);
              }
            }
            if (amrap_Act)
            {
              amrap_Second--;
              if (amrap_Second == 0)
              {
                amrap_Second = 59;
                amrap_Minute--;
                if (amrap_Minute < 0)
                {
                  amrap_Minute = amrap_Minute_Def;
                  amrap_Second = amrap_Second_Def;
                  cross_Run = 0;
                  cross_SrUpEn = 1;
                  cross_TimeStarting = 11;
                  amrap_Act = 0;
                  if (mix_Runnig)
                  {
                    mix_Runnig = 0;
                    work_Mode = MIX;
                  }
                  Buzz(100);
                  HAL_Delay(150);
                  Buzz(100);
                  HAL_Delay(150);
                  Buzz(100);
                }
              }
            }
          }
        }

        irRemote = Ir_GetData();
        if (irRemote != 0)
        {
          Haamin_Remote(irRemote, work_Mode);
        }
      }
      else if (cross_Mode == SETTING)
      {
        time_Out = 0;
        HAL_GPIO_WritePin(blinky_Point, LOW);
        if (amrap_Mode == SET_MIN)
        {
          Segment_Set(0, 'A');
          Segment_Set(1, 'r');
          Segment_Set(4, 'N');
          Segment_Set(5, 'N');

          if (time_SecBit)
          {
            Segment_Set(2, cross_Value / 10);
            Segment_Set(3, cross_Value % 10);
          }
          else
          {
            Segment_Set(2, 'N');
            Segment_Set(3, 'N');
          }
          irRemote = Ir_GetData();
          if (irRemote != 0)
          {
            Haamin_Remote(irRemote, work_Mode);
          }
        }
        else if (amrap_Mode == SET_SEC)
        {
          Segment_Set(0, 'A');
          Segment_Set(1, 'r');
          Segment_Set(2, 'N');
          Segment_Set(3, 'N');

          if (time_SecBit)
          {
            Segment_Set(4, cross_Value / 10);
            Segment_Set(5, cross_Value % 10);
          }
          else
          {
            Segment_Set(4, 'N');
            Segment_Set(5, 'N');
          }
          irRemote = Ir_GetData();
          if (irRemote != 0)
          {
            Haamin_Remote(irRemote, work_Mode);
          }
        }
      }
    }
    else if (work_Mode == SET_MIX)
    {
      Segment_Set(0, 'N');
      Segment_Set(1, 'N');
      Segment_Set(6, 't');
      if (cross_Mode == MAIN_FUNCTION)
      {
        time_Out = 0;
        HAL_GPIO_WritePin(blinky_Point, LOW);
        Segment_Set(2, 'N');
        Segment_Set(3, 'N');
        Segment_Set(4, 'f');
        Segment_Set(5, first_Set);
        irRemote = Ir_GetData();
        if (irRemote != 0)
        {
          Haamin_Remote(irRemote, work_Mode);
        }
      }
      else if (cross_Mode == SETTING)
      {
        if (mix_Step == PART_1)
        {
          Segment_Set(2, 'N');
          Segment_Set(3, 'N');
          HAL_GPIO_WritePin(blinky_Point, LOW);
          if (time_SecBit)
          {
            Segment_Set(4, 'f');
            Segment_Set(5, first_Set);
          }
          else
          {
            Segment_Set(4, 'N');
            Segment_Set(5, 'N');
          }
          if ((cross_Value >= 1) && (cross_Value <= 5))
            first_Set = cross_Value;
        }
        else if (mix_Step == PART_2)
        {
          HAL_GPIO_WritePin(blinky_Point, HIGH);
          if (mix_Mode == SET_MIN)
          {
            Segment_Set(4, mix_Second / 10);
            Segment_Set(5, mix_Second / 10);
            if (time_SecBit)
            {
              Segment_Set(2, cross_Value / 10);
              Segment_Set(3, cross_Value % 10);
            }
            else
            {
              Segment_Set(2, 'N');
              Segment_Set(3, 'N');
            }
          }
          else if (mix_Mode == SET_SEC)
          {
            Segment_Set(2, mix_Minute / 10);
            Segment_Set(3, mix_Minute % 10);
            if (time_SecBit)
            {
              Segment_Set(4, cross_Value / 10);
              Segment_Set(5, cross_Value % 10);
            }
            else
            {
              Segment_Set(4, 'N');
              Segment_Set(5, 'N');
            }
          }
        }
        else if (mix_Step == PART_3)
        {
          HAL_GPIO_WritePin(blinky_Point, LOW);
          Segment_Set(2, 'N');
          Segment_Set(3, 'N');
          if (time_SecBit)
          {
            Segment_Set(4, 'f');
            Segment_Set(5, second_Set);
          }
          else
          {
            Segment_Set(4, 'N');
            Segment_Set(5, 'N');
          }

          if ((cross_Value >= 1) && (cross_Value <= 5))
            second_Set = cross_Value;
        }

        irRemote = Ir_GetData();
        if (irRemote != 0)
        {
          Haamin_Remote(irRemote, work_Mode);
        }
      }
    }
    else if (work_Mode == MIX)
    {
      time_Out = 0;
      if (mix_Step == PART_1)
      {
        mix_Step = PART_2;
        mix_Flag = 1;
        switch (first_Set)
        {
        case 1:
          work_Mode = UP_TIMER;
          break;
        case 2:
          work_Mode = DN_TIMER;
          break;
        case 3:
          work_Mode = TABATA;
          break;
        case 4:
          work_Mode = EMOM;
          break;
        case 5:
          work_Mode = AMRAP;
          break;
        default:
          break;
        }
        cross_Mode = MAIN_FUNCTION;
        timer_Mode = MAIN_FUNCTION;
        Buzz(100);
      }
      else if (mix_Step == PART_2)
      {
        Segment_Set(0, 'N');
        Segment_Set(1, 'N');
        Segment_Set(2, mix_Minute / 10);
        Segment_Set(3, mix_Minute % 10);
        Segment_Set(4, mix_Second / 10);
        Segment_Set(5, mix_Second % 10);
        mix_Flag = 0;

        if (time_SecBit)
        {
          time_SecBit = 0;
          if (--mix_Second < 0)
          {
            mix_Second = 59;
            if (--mix_Minute < 0)
            {
              mix_Minute = 0;
              mix_Second = 0;
              mix_Step = 3;
              Buzz(100);
              HAL_Delay(100);
              Buzz(100);
              HAL_Delay(100);
              Buzz(100);
            }
          }
        }

        irRemote = Ir_GetData();
        if (irRemote != 0)
        {
          Haamin_Remote(irRemote, work_Mode);
        }
      }
      else if (mix_Step == PART_3)
      {
        mix_Step = 0;
        mix_Flag = 1;
        switch (second_Set)
        {
        case 1:
          work_Mode = UP_TIMER;
          break;
        case 2:
          work_Mode = DN_TIMER;
          break;
        case 3:
          work_Mode = TABATA;
          break;
        case 4:
          work_Mode = EMOM;
          break;
        case 5:
          work_Mode = AMRAP;
          break;
        default:
          break;
        }
        Buzz(100);
      }
      else
      {
        work_Mode = SET_MIX;
        cross_Mode = MAIN_FUNCTION;
        Buzz(200);
        HAL_Delay(100);
      }
      Segment_Set(6, 't');
    }

#endif
  }
  /* USER CODE END 3 */
}

void SystemClock_Config(void)
{
  RCC_OscInitTypeDef RCC_OscInitStruct = {0};
  RCC_ClkInitTypeDef RCC_ClkInitStruct = {0};
  RCC_PeriphCLKInitTypeDef PeriphClkInit = {0};

  /** Initializes the RCC Oscillators according to the specified parameters
  * in the RCC_OscInitTypeDef structure.
  */
  RCC_OscInitStruct.OscillatorType = RCC_OSCILLATORTYPE_HSE;
  RCC_OscInitStruct.HSEState = RCC_HSE_ON;
  RCC_OscInitStruct.HSEPredivValue = RCC_HSE_PREDIV_DIV1;
  RCC_OscInitStruct.HSIState = RCC_HSI_ON;
  RCC_OscInitStruct.PLL.PLLState = RCC_PLL_ON;
  RCC_OscInitStruct.PLL.PLLSource = RCC_PLLSOURCE_HSE;
  RCC_OscInitStruct.PLL.PLLMUL = RCC_PLL_MUL9;
  if (HAL_RCC_OscConfig(&RCC_OscInitStruct) != HAL_OK)
  {
    Error_Handler();
  }

  /** Initializes the CPU, AHB and APB buses clocks
  */
  RCC_ClkInitStruct.ClockType = RCC_CLOCKTYPE_HCLK|RCC_CLOCKTYPE_SYSCLK
                              |RCC_CLOCKTYPE_PCLK1|RCC_CLOCKTYPE_PCLK2;
  RCC_ClkInitStruct.SYSCLKSource = RCC_SYSCLKSOURCE_PLLCLK;
  RCC_ClkInitStruct.AHBCLKDivider = RCC_SYSCLK_DIV1;
  RCC_ClkInitStruct.APB1CLKDivider = RCC_HCLK_DIV2;
  RCC_ClkInitStruct.APB2CLKDivider = RCC_HCLK_DIV2;

  if (HAL_RCC_ClockConfig(&RCC_ClkInitStruct, FLASH_LATENCY_2) != HAL_OK)
  {
    Error_Handler();
  }
  PeriphClkInit.PeriphClockSelection = RCC_PERIPHCLK_ADC;
  PeriphClkInit.AdcClockSelection = RCC_ADCPCLK2_DIV4;
  if (HAL_RCCEx_PeriphCLKConfig(&PeriphClkInit) != HAL_OK)
  {
    Error_Handler();
  }
}

/* USER CODE BEGIN 4 */

void Time_Update(void)
{
  if (++time_Second > 59)
  {
    time_Second = 0;
    if (++time_Minute > 59)
    {
      time_Minute = 0;

      if (++time_Hour > 23)
        time_Hour = 0;
    }
  }
  if (++time_TmpShow > 30)
  {
    time_TmpShow = 0;
  }
  if (++time_DateShow > 30)
  {
    time_DateShow = 0;
  }

  if (time_SecBit)
    time_SecBit = 0;
  else
    time_SecBit = 1;

  if (++time_Out > 90)
  {
    time_Out = 0;
    if (work_Mode != MODE_NORMAL)
    {
      DS3231_ReadTime(&hi2c2, &time_Hour, &time_Minute, &time_Second);
      work_Mode = MODE_NORMAL;
      // Buzz(50);
    }
  }

#ifdef EDARI
  if (time_Second == 1)
  {
    DS3231_ReadCalendar(&hi2c2, &gdate_Year, &gdate_Mounth, &gdate_Day, &date_Week);
    gregorian_to_jalali(gdate_Year + 2000, gdate_Mounth, gdate_Day, jalali_Calender);
    if (jalali_Calender[0] > 1400)
      jdate_Year = jalali_Calender[0] - 1400;
    jdate_Mounth = jalali_Calender[1];
    jdate_Day = jalali_Calender[2];
    dateOfWeek = GET_DOW(date_Week);
  }
#endif
}
/* USER CODE END 4 */

void Error_Handler(void)
{
  __disable_irq();
  while (1)
  {
  }
}
